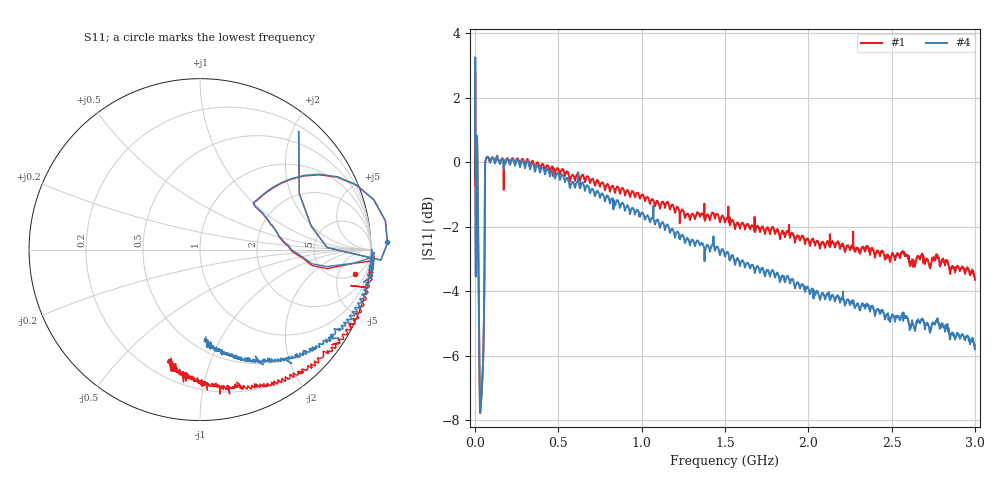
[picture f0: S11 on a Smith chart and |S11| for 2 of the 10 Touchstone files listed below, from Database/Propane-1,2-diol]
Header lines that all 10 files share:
# HZ S RI R 50
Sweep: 10 kHz to 3 GHz
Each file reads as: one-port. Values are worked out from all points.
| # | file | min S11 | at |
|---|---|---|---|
| 1 | 10%.s1p | -7.8 dB | 31.21 MHz |
| 2 | 20%.s1p | -7.8 dB | 31.21 MHz |
| 3 | 30%.s1p | -7.8 dB | 31.21 MHz |
| 4 | 40%.s1p | -7.7 dB | 31.21 MHz |
| 5 | 50%.s1p | -7.7 dB | 31.21 MHz |
| 6 | 60%.s1p | -7.7 dB | 31.21 MHz |
| 7 | 70%.s1p | -7.7 dB | 31.21 MHz |
| 8 | 80%.s1p | -7.7 dB | 31.21 MHz |
| 9 | 90%.s1p | -7.7 dB | 31.21 MHz |
| 10 | 100%.s1p | -7.7 dB | 31.21 MHz |
